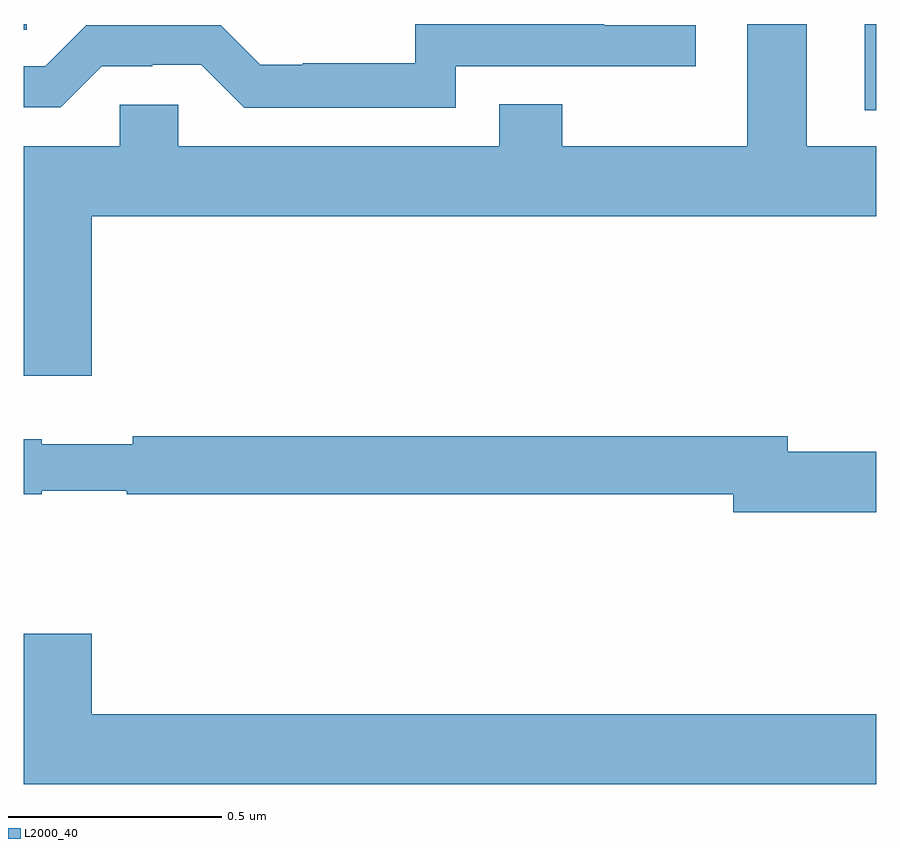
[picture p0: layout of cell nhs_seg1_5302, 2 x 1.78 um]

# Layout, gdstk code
import gdstk
lib = gdstk.Library(unit=1e-6, precision=1e-09)
def R(c, l, rs):  # rectangles x0, y0, x1, y1
    for r in rs: c.add(gdstk.rectangle(r[:2], r[2:], *l))
def P(c, l, *ps):  # polygons
    for p in ps: c.add(gdstk.Polygon(p, *l))
L2000_40 = (2000, 40)

nhs_seg1_5302 = lib.new_cell('nhs_seg1_5302')
R(nhs_seg1_5302, L2000_40, [(178.973,535.997,179,536.199), (177,536.185,177.007,536.199)])
P(nhs_seg1_5302, L2000_40, [(177.16,535.748),(179,535.748),(179,535.912),(178.837,535.912),(178.837,536.199),(178.697,536.199),(178.697,535.912),(178.263,535.912),(178.263,536.011),(178.115,536.011),(178.115,535.912),(177.363,535.912),(177.363,536.01),(177.225,536.01),(177.225,535.912),(177,535.912),(177,535.374),(177.16,535.374)],
  [(178.014,536.1),(178.576,536.1),(178.576,536.196),(178.362,536.196),(178.362,536.199),(177.918,536.199),(177.918,536.107),(177.655,536.107),(177.655,536.103),(177.555,536.103),(177.462,536.196),(177.147,536.196),(177.051,536.1),(177,536.1),(177,536.004),(177.087,536.004),(177.183,536.1),(177.302,536.1),(177.302,536.103),(177.417,536.103),(177.517,536.003),(178.014,536.003)],
  [(179,535.196),(178.792,535.196),(178.792,535.232),(177.256,535.232),(177.256,535.213),(177.042,535.213),(177.042,535.225),(177,535.225),(177,535.096),(177.042,535.096),(177.042,535.104),(177.242,535.104),(177.242,535.096),(178.664,535.096),(178.664,535.054),(179,535.054)],
  [(179,534.58),(177.16,534.58),(177.16,534.769),(177,534.769),(177,534.416),(179,534.416)])

lib.write_gds('nhs_seg1_5302.gds')
